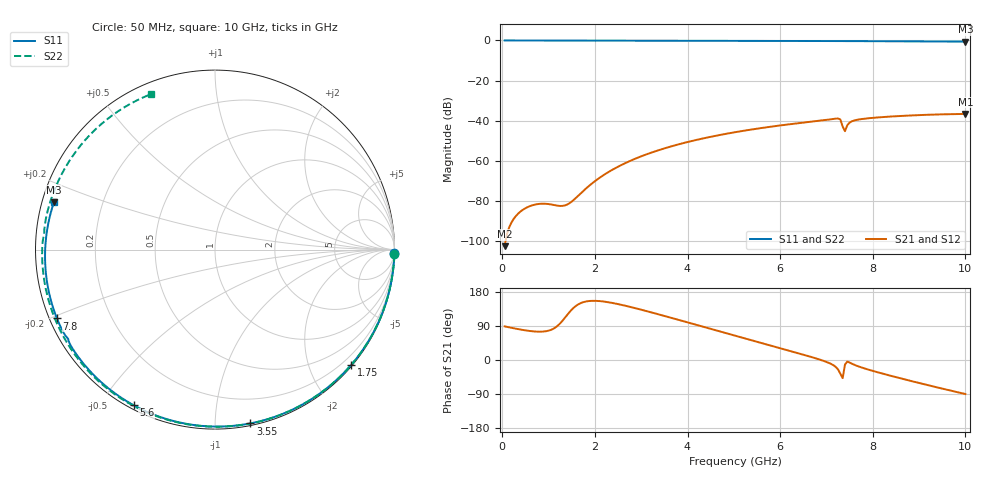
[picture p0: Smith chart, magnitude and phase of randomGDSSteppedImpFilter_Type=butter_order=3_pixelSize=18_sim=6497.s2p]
! freq	dB(S11)	phase(S11)	dB(S12)	phase(S12)
!  dB(S21)	phase(S21)	dB(S22)	phase(S22)
!S-par simulation data
#  GHz  S  DB  R 50
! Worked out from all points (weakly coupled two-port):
!   200 points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, 50 MHz to 10 GHz, reference 50 ohm
!   highest |S21| = -36.61 dB at 10 GHz (marker M1); lowest = -102.5 dB at 50 MHz (marker M2)
!   lowest |S11| = -0.6 dB at 10 GHz (marker M3), VSWR 29.93, Z = 1.71 + j7.18 ohm
!   |S11| at or under -10 dB: nowhere
!   |S22| runs from -0.6 to 0.0 dB; largest |S21 - S12| = 0
!   S11 on the Smith chart (normalised r, x): 50 MHz: 0, -97; 1.75 GHz: 0.02, -2.73; 3.55 GHz: 0.01, -1.22; 5.6 GHz: 0.01, -0.61; 7.8 GHz: 0.02, -0.21; 10 GHz: 0.03, +0.14
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0.05  -0.00 -1.2  -102.49 88.7  -102.49 88.7  -0.00 -1.5
0.75  -0.02 -17.5  -81.58 74.9  -81.58 74.9  -0.03 -22.5
1.5  -0.04 -34.6  -80.27 132.9  -80.27 132.9  -0.06 -44.4
1.75  -0.05 -40.2  -74.98 152.6  -74.98 152.6  -0.06 -51.5
2.1  -0.06 -47.9  -68.43 155.5  -68.43 155.5  -0.08 -61.2
2.45  -0.07 -55.5  -63.49 148.8  -63.49 148.8  -0.09 -70.7
3.4  -0.10 -75.4  -54.49 119.6  -54.49 119.6  -0.12 -95.2
3.55  -0.10 -78.5  -53.42 114.6  -53.42 114.6  -0.13 -98.9
4.25  -0.13 -92.3  -49.24 90.8  -49.24 90.8  -0.15 -115.7
5.05  -0.16 -107.5  -45.61 63.5  -45.61 63.5  -0.19 -134.0
5.6  -0.19 -117.6  -43.61 44.8  -43.61 44.8  -0.22 -146.3
6.7  -0.26 -137.3  -40.40 7.0  -40.40 7.0  -0.30 -170.4
7.25  -0.32 -147.1  -38.88 -24.8  -38.88 -24.8  -0.34 177.3
7.3  -0.34 -148.0  -39.37 -36.1  -39.37 -36.1  -0.36 176.2
7.35  -0.38 -148.7  -42.91 -47.9  -42.91 -47.9  -0.40 175.2
7.4  -0.36 -149.3  -45.19 -11.9  -45.19 -11.9  -0.39 174.3
7.45  -0.34 -150.2  -42.23 -4.0  -42.23 -4.0  -0.38 173.2
7.5  -0.33 -151.1  -40.93 -6.8  -40.93 -6.8  -0.37 172.1
7.8  -0.35 -156.5  -39.03 -21.4  -39.03 -21.4  -0.39 165.3
8.35  -0.40 -166.2  -37.96 -40.4  -37.96 -40.4  -0.43 152.7
9.15  -0.48 179.5  -37.06 -65.2  -37.06 -65.2  -0.50 133.6
10  -0.58 163.6  -36.61 -89.8  -36.61 -89.8  -0.57 112.3
